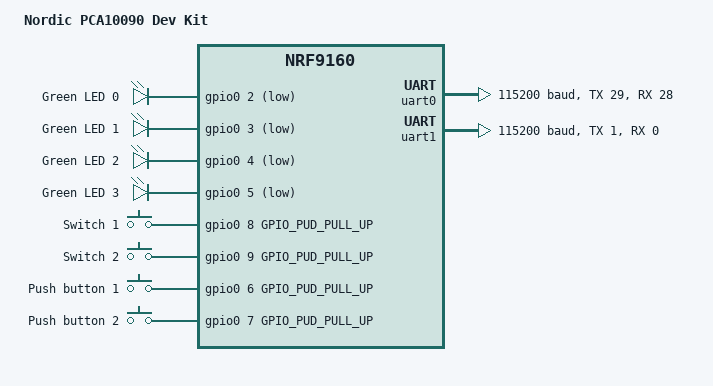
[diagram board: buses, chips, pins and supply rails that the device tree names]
/*
 * Copyright (c) 2017 Linaro Limited
 * Copyright (c) 2018 Nordic Semiconductor ASA
 *
 * SPDX-License-Identifier: Apache-2.0
 */

/dts-v1/;
#include <nordic/nrf9160_xxaa.dtsi>

/ {
	model = "Nordic PCA10090 Dev Kit";
	compatible = "nordic,pca10090-dk", "nordic,nrf9160-xxaa";

	chosen {
		zephyr,console = &uart0;
		zephyr,sram = &sram0;
		zephyr,flash = &flash0;
	};

	aliases {
		config-uart-0 = &uart0;
		config-uart-1 = &uart1;
		config-gpio-0 = &gpio0;
		config-gpiote = &gpiote;
		led0 = &led0;
		led1 = &led1;
		led2 = &led2;
		led3 = &led3;
		sw0 = &button2;
		sw1 = &button3;
		sw2 = &button0;
		sw3 = &button1;
	};

	leds {
		compatible = "gpio-leds";
		led0: led@0 {
			gpios = <&gpio0 2 GPIO_INT_ACTIVE_LOW>;
			label = "Green LED 0";
		};
		led1: led@1 {
			gpios = <&gpio0 3 GPIO_INT_ACTIVE_LOW>;
			label = "Green LED 1";
		};
		led2: led@2 {
			gpios = <&gpio0 4 GPIO_INT_ACTIVE_LOW>;
			label = "Green LED 2";
		};
		led3: led@3 {
			gpios = <&gpio0 5 GPIO_INT_ACTIVE_LOW>;
			label = "Green LED 3";
		};
	};

	buttons {
		compatible = "gpio-keys";
		#address-cells = <1>;
		#size-cells = <0>;
		button0: button@0 {
			gpios = <&gpio0 8 GPIO_PUD_PULL_UP>;
			label = "Switch 1";
		};
		button1: button@1 {
			gpios = <&gpio0 9 GPIO_PUD_PULL_UP>;
			label = "Switch 2";
		};
		button2: button@2 {
			gpios = <&gpio0 6 GPIO_PUD_PULL_UP>;
			label = "Push button 1";
		};
		button3: button@3 {
			gpios = <&gpio0 7 GPIO_PUD_PULL_UP>;
			label = "Push button 2";
		};
	};

};

&uart0 {
	current-speed = <115200>;
	status = "ok";
	tx-pin = <29>;
	rx-pin = <28>;
	rts-pin = <27>;
	cts-pin = <26>;
};

&uart1 {
	current-speed = <115200>;
	status = "ok";
	tx-pin = <1>;
	rx-pin = <0>;
	rts-pin = <14>;
	cts-pin = <15>;
};

&gpiote {
	status = "ok";
};

&gpio0 {
	status = "ok";
};

&flash0 {
	/*
	 * For more information, see:
	 * http://docs.zephyrproject.org/devices/dts/flash_partitions.html
	 */
	partitions {
		compatible = "fixed-partitions";
		#address-cells = <1>;
		#size-cells = <1>;

		boot_partition: partition@0 {
			label = "mcuboot";
			reg = <0x00000000 0xc000>;
		};
		slot0_partition: partition@c000 {
			label = "image-0";
			reg = <0x0000C000 0x32000>;
		};
		slot1_partition: partition@3e000 {
			label = "image-1";
			reg = <0x0003E000 0x32000>;
		};
		scratch_partition: partition@70000 {
			label = "image-scratch";
			reg = <0x00070000 0xa000>;
		};

#if defined(CONFIG_FILE_SYSTEM_NFFS)
		nffs_partition: partition@7a000 {
			label = "nffs";
			reg = <0x0007a000 0x00006000>;
		};
#endif
	};
};


